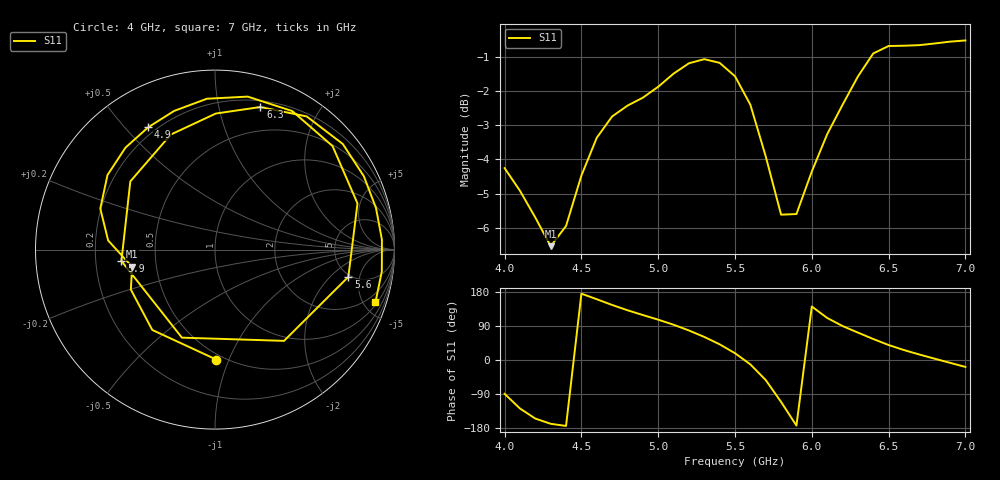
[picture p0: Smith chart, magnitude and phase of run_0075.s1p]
! Touchstone file exported from HFSS 2024.2.0
!  File:  C:/Users/wsak9/Desktop/Sim Fast/Widenad Patch/WP_AI_V1_sweep.aedt
!  Generated:  06:06:09 PM Oct 13, 2026
!  Design:  A1_model
!  Project:  WP_AI_V1_sweep
!  Setup:  Setup1
!  Solution:  Sweep
! Variables:
!  Air_gap = 4.18mm
!  Curve_Amp1 = 3.5
!  Curve_len1 = 1
!  Curve_pos = 12.64mm
!  Extra = 6.69mm
!  H_sub = 0.79mm
!  L_Patch = 21.28mm
!  L_Patch1 = 19.17mm
!  Sx = 4.31mm
!  Sy = 3.07mm
!  WS = 0.74mm
!  W_Patch = 22.46mm
!  W_Patch1 = 12.48mm
!Data is not renormalized
# GHz S MA
! Terminal data exported
! Port[1] = 1
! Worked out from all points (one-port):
!   31 points, 4 GHz to 7 GHz, reference per port
!   lowest |S11| = -6.5 dB at 4.3 GHz (marker M1), VSWR 2.78
!   |S11| at or under -10 dB: nowhere
!   S11 on the Smith chart (normalised r, x): 4 GHz: 0.46, -0.90; 4.9 GHz: 0.17, +0.58; 5.6 GHz: 4.77, -3.41; 5.9 GHz: 0.31, -0.05; 6.3 GHz: 0.26, +1.34; 7 GHz: 1.17, -6.01
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4  0.6128 -89.3
4.1  0.5678 -128.0
4.2  0.519 -154.6
4.3  0.4714 -168.3
4.4  0.5045 -174.1
4.5  0.5977 175.1
4.6  0.6786 160.3
4.7  0.729 145.2
4.8  0.756 131.3
4.9  0.7765 118.7
5.1  0.8418 93.1
5.2  0.8716 77.9
5.3  0.8837 60.8
5.4  0.8728 41.4
5.5  0.8344 17.9
5.6  0.7583 -11.5
5.7  0.6375 -52.9
5.8  0.5241 -110.6
5.9  0.5252 -173.1
6  0.6058 141.1
6.1  0.6867 111.0
6.2  0.758 89.7
6.3  0.8336 72.4
6.4  0.9009 55.4
6.5  0.9237 39.6
6.7  0.9264 14.5
6.9  0.9374 -7.4
7  0.9411 -18.2
